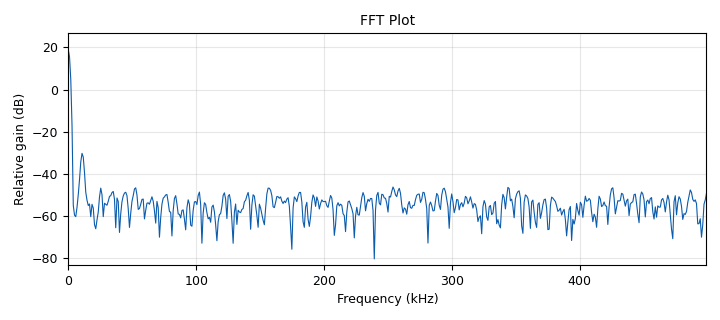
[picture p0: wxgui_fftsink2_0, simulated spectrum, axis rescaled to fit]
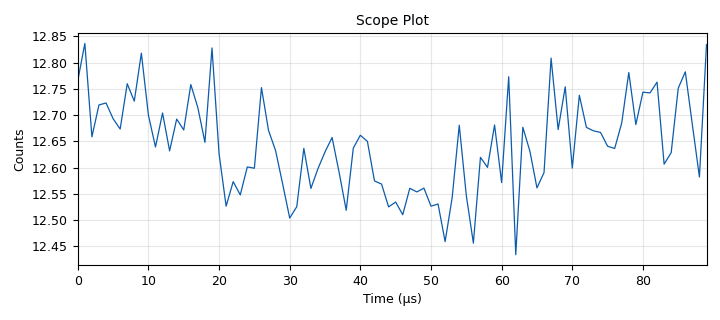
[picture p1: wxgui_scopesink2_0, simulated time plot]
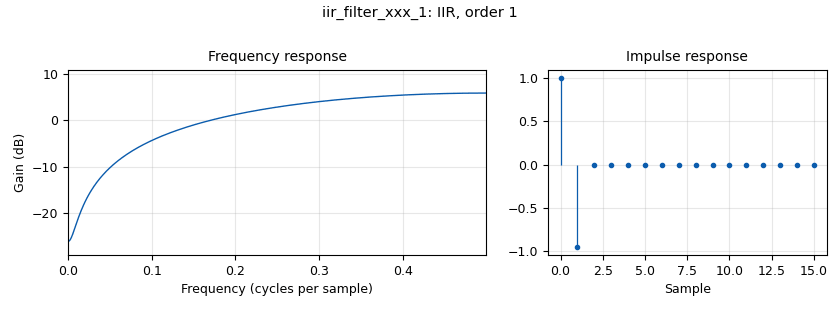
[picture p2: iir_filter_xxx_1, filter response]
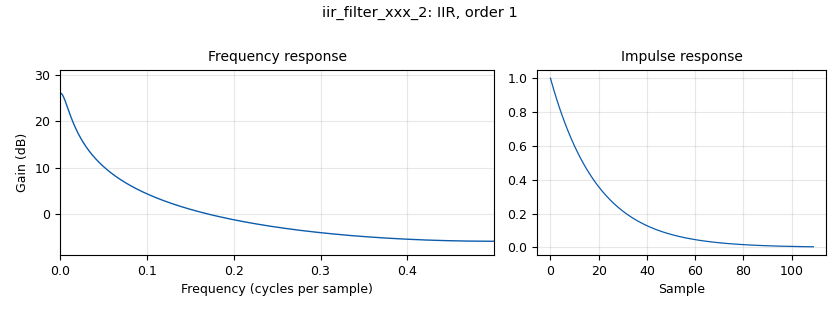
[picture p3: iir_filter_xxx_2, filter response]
<?xml version='1.0' encoding='utf-8'?>
<?grc format='1' created='3.7.9'?>
<flow_graph>
<block>
<key>options</key>
<param><key>id</key><value>top_block</value></param>
<param><key>category</key><value>Custom</value></param>
<param><key>generate_options</key><value>wx_gui</value></param>
</block>
<block>
<key>variable</key>
<param><key>id</key><value>fm</value></param>
<param><key>value</key><value>1.1e3</value></param>
</block>
<block>
<key>variable_slider</key>
<param><key>id</key><value>kf</value></param>
<param><key>converver</key><value>float_converter</value></param>
<param><key>value</key><value>17</value></param>
<param><key>label</key><value></value></param>
<param><key>max</key><value>25</value></param>
<param><key>min</key><value>0</value></param>
<param><key>num_steps</key><value>100</value></param>
<param><key>style</key><value>wx.SL_HORIZONTAL</value></param>
</block>
<block>
<key>variable_slider</key>
<param><key>id</key><value>m</value></param>
<param><key>converver</key><value>float_converter</value></param>
<param><key>value</key><value>50</value></param>
<param><key>label</key><value></value></param>
<param><key>max</key><value>80</value></param>
<param><key>min</key><value>1</value></param>
<param><key>num_steps</key><value>1000</value></param>
<param><key>style</key><value>wx.SL_HORIZONTAL</value></param>
</block>
<block>
<key>variable</key>
<param><key>id</key><value>samp_rate</value></param>
<param><key>value</key><value>1e6</value></param>
</block>
<block>
<key>analog_noise_source_x</key>
<param><key>id</key><value>analog_noise_source_x_0</value></param>
<param><key>amp</key><value>0.1</value></param>
<param><key>noise_type</key><value>analog.GR_GAUSSIAN</value></param>
<param><key>type</key><value>complex</value></param>
<param><key>seed</key><value>0</value></param>
</block>
<block>
<key>analog_phase_modulator_fc</key>
<param><key>id</key><value>analog_phase_modulator_fc_0</value></param>
<param><key>sensitivity</key><value>kf</value></param>
</block>
<block>
<key>analog_sig_source_x</key>
<param><key>id</key><value>analog_sig_source_x_0</value></param>
<param><key>amp</key><value>1</value></param>
<param><key>freq</key><value>100e3</value></param>
<param><key>offset</key><value>0</value></param>
<param><key>type</key><value>complex</value></param>
<param><key>samp_rate</key><value>samp_rate</value></param>
<param><key>waveform</key><value>analog.GR_COS_WAVE</value></param>
</block>
<block>
<key>blocks_add_xx</key>
<param><key>id</key><value>blocks_add_xx_0</value></param>
<param><key>type</key><value>float</value></param>
</block>
<block>
<key>blocks_add_xx</key>
<param><key>id</key><value>blocks_add_xx_1</value></param>
<param><key>type</key><value>complex</value></param>
</block>
<block>
<key>blocks_complex_to_arg</key>
<param><key>id</key><value>blocks_complex_to_arg_0</value></param>
</block>
<block>
<key>blocks_conjugate_cc</key>
<param><key>id</key><value>blocks_conjugate_cc_0</value></param>
</block>
<block>
<key>blocks_delay</key>
<param><key>id</key><value>blocks_delay_0</value></param>
<param><key>delay</key><value>1</value></param>
<param><key>type</key><value>complex</value></param>
</block>
<block>
<key>blocks_multiply_const_vxx</key>
<param><key>id</key><value>blocks_multiply_const_vxx_0</value></param>
<param><key>const</key><value>10e3</value></param>
<param><key>type</key><value>float</value></param>
</block>
<block>
<key>blocks_multiply_const_vxx</key>
<param><key>id</key><value>blocks_multiply_const_vxx_1</value></param>
<param><key>const</key><value>1</value></param>
<param><key>type</key><value>float</value></param>
</block>
<block>
<key>blocks_multiply_xx</key>
<param><key>id</key><value>blocks_multiply_xx_0</value></param>
<param><key>type</key><value>complex</value></param>
</block>
<block>
<key>blocks_multiply_xx</key>
<param><key>id</key><value>blocks_multiply_xx_0_0</value></param>
<param><key>type</key><value>complex</value></param>
</block>
<block>
<key>blocks_throttle</key>
<param><key>id</key><value>blocks_throttle_0</value></param>
<param><key>samples_per_second</key><value>samp_rate</value></param>
<param><key>type</key><value>complex</value></param>
</block>
<block>
<key>iir_filter_xxx</key>
<param><key>id</key><value>iir_filter_xxx_0</value></param>
<param><key>fftaps</key><value>[1.0/samp_rate]</value></param>
<param><key>fbtaps</key><value>[1,1]</value></param>
<param><key>type</key><value>ffd</value></param>
</block>
<block>
<key>iir_filter_xxx</key>
<param><key>id</key><value>iir_filter_xxx_1</value></param>
<param><key>fftaps</key><value>[1,-0.95]</value></param>
<param><key>fbtaps</key><value>[1.0]</value></param>
<param><key>type</key><value>ffd</value></param>
</block>
<block>
<key>iir_filter_xxx</key>
<param><key>id</key><value>iir_filter_xxx_2</value></param>
<param><key>fftaps</key><value>[1.0]</value></param>
<param><key>fbtaps</key><value>[1,0.95]</value></param>
<param><key>type</key><value>ffd</value></param>
</block>
<block>
<key>analog_sig_source_x</key>
<param><key>id</key><value>message</value></param>
<param><key>amp</key><value>0.5</value></param>
<param><key>freq</key><value>1.1e3</value></param>
<param><key>offset</key><value>0</value></param>
<param><key>type</key><value>float</value></param>
<param><key>samp_rate</key><value>samp_rate</value></param>
<param><key>waveform</key><value>analog.GR_COS_WAVE</value></param>
</block>
<block>
<key>analog_sig_source_x</key>
<param><key>id</key><value>message_0</value></param>
<param><key>amp</key><value>0.5</value></param>
<param><key>freq</key><value>11e3</value></param>
<param><key>offset</key><value>0</value></param>
<param><key>type</key><value>float</value></param>
<param><key>samp_rate</key><value>samp_rate</value></param>
<param><key>waveform</key><value>analog.GR_COS_WAVE</value></param>
</block>
<block>
<key>wxgui_fftsink2</key>
<param><key>id</key><value>wxgui_fftsink2_0</value></param>
<param><key>avg_alpha</key><value>0</value></param>
<param><key>average</key><value>False</value></param>
<param><key>baseband_freq</key><value>0</value></param>
<param><key>fft_size</key><value>1024</value></param>
<param><key>freqvar</key><value>None</value></param>
<param><key>peak_hold</key><value>False</value></param>
<param><key>ref_level</key><value>0</value></param>
<param><key>ref_scale</key><value>2.0</value></param>
<param><key>fft_rate</key><value>15</value></param>
<param><key>samp_rate</key><value>samp_rate</value></param>
<param><key>title</key><value>FFT Plot</value></param>
<param><key>type</key><value>float</value></param>
<param><key>win</key><value>None</value></param>
<param><key>y_divs</key><value>10</value></param>
<param><key>y_per_div</key><value>10</value></param>
</block>
<block>
<key>wxgui_scopesink2</key>
<param><key>id</key><value>wxgui_scopesink2_0</value></param>
<param><key>ac_couple</key><value>False</value></param>
<param><key>num_inputs</key><value>1</value></param>
<param><key>samp_rate</key><value>samp_rate</value></param>
<param><key>t_scale</key><value>0</value></param>
<param><key>title</key><value>Scope Plot</value></param>
<param><key>trig_mode</key><value>wxgui.TRIG_MODE_AUTO</value></param>
<param><key>type</key><value>float</value></param>
<param><key>v_offset</key><value>0</value></param>
<param><key>v_scale</key><value>0</value></param>
<param><key>xy_mode</key><value>False</value></param>
<param><key>y_axis_label</key><value>Counts</value></param>
</block>
<connection><source_block_id>analog_noise_source_x_0</source_block_id><sink_block_id>blocks_add_xx_1</sink_block_id><source_key>0</source_key><sink_key>1</sink_key></connection>
<connection><source_block_id>analog_phase_modulator_fc_0</source_block_id><sink_block_id>blocks_multiply_xx_0</sink_block_id><source_key>0</source_key><sink_key>0</sink_key></connection>
<connection><source_block_id>analog_sig_source_x_0</source_block_id><sink_block_id>blocks_multiply_xx_0</sink_block_id><source_key>0</source_key><sink_key>1</sink_key></connection>
<connection><source_block_id>blocks_add_xx_0</source_block_id><sink_block_id>iir_filter_xxx_1</sink_block_id><source_key>0</source_key><sink_key>0</sink_key></connection>
<connection><source_block_id>blocks_add_xx_1</source_block_id><sink_block_id>blocks_delay_0</sink_block_id><source_key>0</source_key><sink_key>0</sink_key></connection>
<connection><source_block_id>blocks_add_xx_1</source_block_id><sink_block_id>blocks_multiply_xx_0_0</sink_block_id><source_key>0</source_key><sink_key>0</sink_key></connection>
<connection><source_block_id>blocks_complex_to_arg_0</source_block_id><sink_block_id>iir_filter_xxx_2</sink_block_id><source_key>0</source_key><sink_key>0</sink_key></connection>
<connection><source_block_id>blocks_conjugate_cc_0</source_block_id><sink_block_id>blocks_multiply_xx_0_0</sink_block_id><source_key>0</source_key><sink_key>1</sink_key></connection>
<connection><source_block_id>blocks_delay_0</source_block_id><sink_block_id>blocks_conjugate_cc_0</sink_block_id><source_key>0</source_key><sink_key>0</sink_key></connection>
<connection><source_block_id>blocks_multiply_const_vxx_0</source_block_id><sink_block_id>analog_phase_modulator_fc_0</sink_block_id><source_key>0</source_key><sink_key>0</sink_key></connection>
<connection><source_block_id>blocks_multiply_const_vxx_1</source_block_id><sink_block_id>wxgui_fftsink2_0</sink_block_id><source_key>0</source_key><sink_key>0</sink_key></connection>
<connection><source_block_id>blocks_multiply_const_vxx_1</source_block_id><sink_block_id>wxgui_scopesink2_0</sink_block_id><source_key>0</source_key><sink_key>0</sink_key></connection>
<connection><source_block_id>blocks_multiply_xx_0</source_block_id><sink_block_id>blocks_throttle_0</sink_block_id><source_key>0</source_key><sink_key>0</sink_key></connection>
<connection><source_block_id>blocks_multiply_xx_0_0</source_block_id><sink_block_id>blocks_complex_to_arg_0</sink_block_id><source_key>0</source_key><sink_key>0</sink_key></connection>
<connection><source_block_id>blocks_throttle_0</source_block_id><sink_block_id>blocks_add_xx_1</sink_block_id><source_key>0</source_key><sink_key>0</sink_key></connection>
<connection><source_block_id>iir_filter_xxx_0</source_block_id><sink_block_id>blocks_multiply_const_vxx_0</sink_block_id><source_key>0</source_key><sink_key>0</sink_key></connection>
<connection><source_block_id>iir_filter_xxx_1</source_block_id><sink_block_id>iir_filter_xxx_0</sink_block_id><source_key>0</source_key><sink_key>0</sink_key></connection>
<connection><source_block_id>iir_filter_xxx_2</source_block_id><sink_block_id>blocks_multiply_const_vxx_1</sink_block_id><source_key>0</source_key><sink_key>0</sink_key></connection>
<connection><source_block_id>message</source_block_id><sink_block_id>blocks_add_xx_0</sink_block_id><source_key>0</source_key><sink_key>0</sink_key></connection>
<connection><source_block_id>message_0</source_block_id><sink_block_id>blocks_add_xx_0</sink_block_id><source_key>0</source_key><sink_key>1</sink_key></connection>
</flow_graph>
